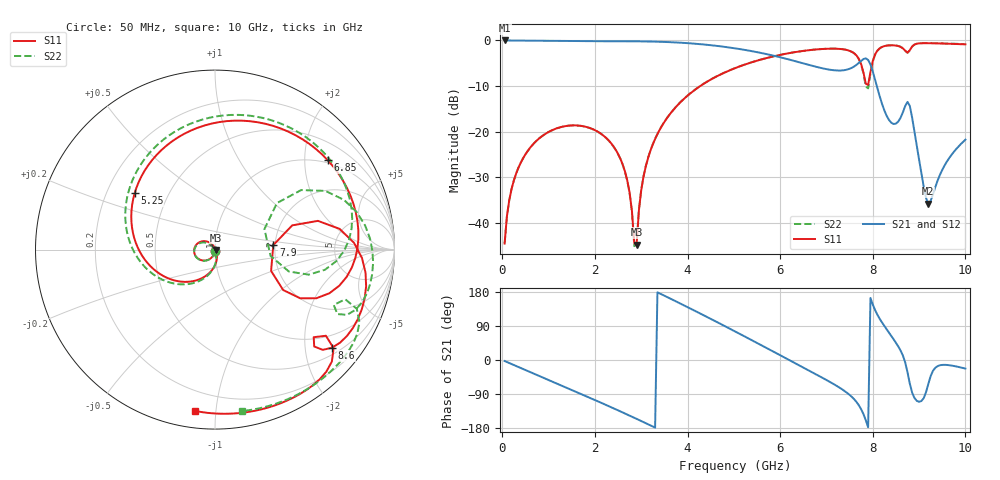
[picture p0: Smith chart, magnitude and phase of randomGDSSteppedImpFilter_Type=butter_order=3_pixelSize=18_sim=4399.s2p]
! freq	dB(S11)	phase(S11)	dB(S12)	phase(S12)
!  dB(S21)	phase(S21)	dB(S22)	phase(S22)
!S-par simulation data
#  GHz  S  DB  R 50
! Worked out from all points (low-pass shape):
!   200 points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, 50 MHz to 10 GHz, reference 50 ohm
!   highest |S21| = 0.00 dB at 50 MHz (marker M1); lowest = -35.8 dB at 9.2 GHz (marker M2)
!   |S21| within 3 dB of the highest: start of sweep to 5.708 GHz
!   lowest |S11| = -44.8 dB at 2.9 GHz (marker M3), VSWR 1.01, Z = 50.5 - j0.223 ohm
!   |S11| at or under -10 dB: start of sweep to 4.276 GHz
!   |S22| runs from -45.2 to -0.6 dB; largest |S21 - S12| = 0
!   S11 on the Smith chart (normalised r, x): 50 MHz: 1.00, -0.01; 5.25 GHz: 0.32, +0.29; 6.85 GHz: 0.93, +2.58; 7.9 GHz: 1.96, +0.11; 8.6 GHz: 0.66, -2.60; 10 GHz: 0.09, -0.88
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0.05  -44.59 -92.0  -0.00 -2.7  -0.00 -2.7  -44.59 -92.0
0.2  -32.61 -100.6  -0.02 -10.6  -0.02 -10.6  -32.61 -100.3
0.55  -24.24 -120.0  -0.05 -29.1  -0.05 -29.1  -24.25 -119.2
1.75  -18.84 175.0  -0.16 -92.3  -0.16 -92.3  -18.85 178.3
2.55  -25.97 128.3  -0.17 -135.6  -0.17 -135.6  -26.02 138.1
2.9  -44.80 -22.5  -0.19 -155.3  -0.19 -155.3  -44.74 -105.0
3.05  -29.88 -69.8  -0.21 -163.9  -0.21 -163.9  -29.78 -79.3
3.4  -19.59 -95.3  -0.29 175.7  -0.29 175.7  -19.55 -95.1
4.3  -9.83 -152.7  -0.84 121.1  -0.84 121.1  -9.81 -146.7
5.05  -5.99 158.3  -1.77 73.9  -1.77 73.9  -5.97 167.9
5.25  -5.25 145.0  -2.10 61.1  -2.10 61.1  -5.23 155.6
6.7  -2.05 48.2  -5.58 -32.9  -5.58 -32.9  -2.05 64.0
6.85  -1.92 38.3  -5.97 -42.8  -5.97 -42.8  -1.91 54.3
7.5  -2.28 -7.5  -6.22 -92.1  -6.22 -92.1  -2.28 8.6
7.75  -5.24 -29.7  -4.46 -130.2  -4.46 -130.2  -5.34 -15.0
7.9  -9.74 4.4  -4.29 -177.5  -4.29 -177.5  -10.51 22.5
8.05  -3.05 9.4  -8.63 131.8  -8.63 131.8  -3.14 28.0
8.35  -1.08 -22.2  -17.45 72.3  -17.45 72.3  -1.07 -4.8
8.6  -1.41 -40.0  -16.97 25.1  -16.97 25.1  -1.39 -23.2
8.8  -2.13 -37.8  -14.36 -62.5  -14.36 -62.5  -2.19 -20.9
9.2  -0.60 -62.3  -35.84 -63.0  -35.84 -63.0  -0.57 -45.6
10  -0.86 -96.9  -21.78 -22.6  -21.78 -22.6  -0.80 -80.5
